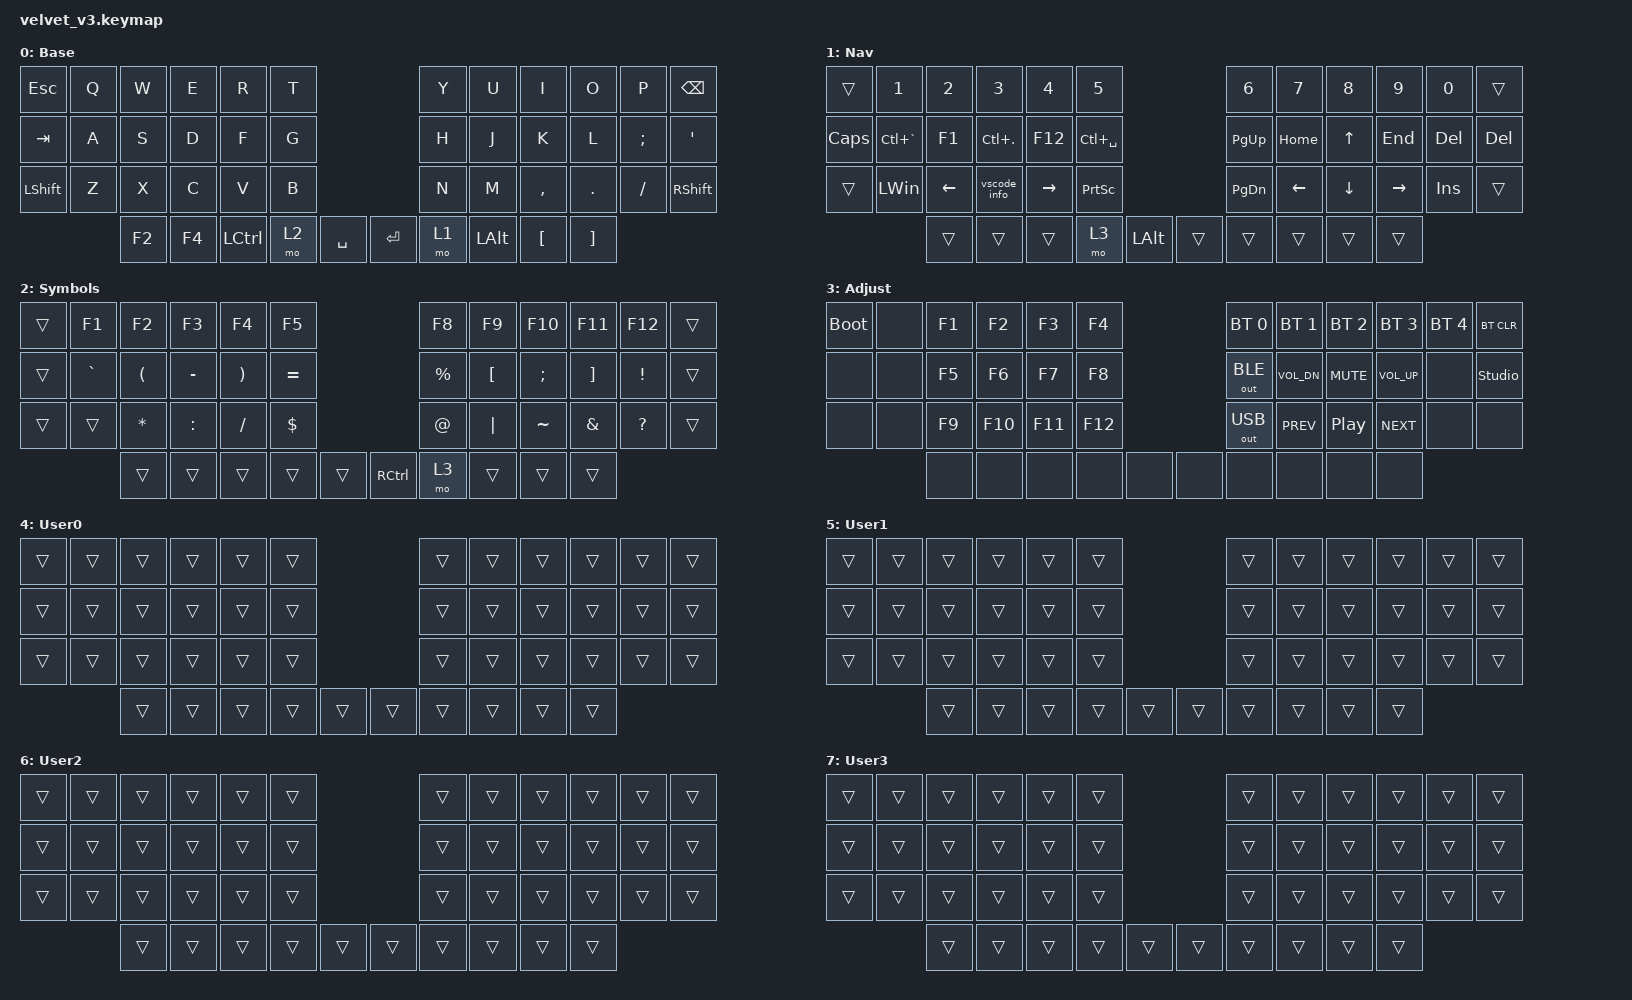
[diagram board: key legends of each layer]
#include "keys_ru.h"
#include <behaviors.dtsi>
#include <dt-bindings/zmk/bt.h>
#include <dt-bindings/zmk/keys.h>
#include <dt-bindings/zmk/outputs.h>

/ {
    macros {
        vscode_info: vscode_info {
            compatible = "zmk,behavior-macro";
            #binding-cells = <0>;
            bindings = <&kp LC(K) &kp LC(I)>;
            label = "vscode_info";
        };
    };

    keymap {
        compatible = "zmk,keymap";

        base {
            bindings = <
&kp ESC         &kp Q  &kp W   &kp E   &kp R      &kp T                          &kp Y  &kp U         &kp I             &kp O              &kp P     &kp BSPC
&kp TAB         &kp A  &kp S   &kp D   &kp F      &kp G                          &kp H  &kp J         &kp K             &kp L              &kp SEMI  &kp SQT
&kp LEFT_SHIFT  &kp Z  &kp X   &kp C   &kp V      &kp B                          &kp N  &kp M         &kp COMMA         &kp DOT            &kp FSLH  &kp RSHFT
                       &kp F2  &kp F4  &kp LCTRL  &mo 2  &kp SPACE    &kp ENTER  &mo 1  &kp LEFT_ALT  &kp LEFT_BRACKET  &kp RIGHT_BRACKET
            >;

            display-name = "Base";
        };

        nav {
            bindings = <
&trans        &kp N1         &kp N2    &kp N3        &kp N4           &kp N5                                   &kp N6         &kp N7    &kp N8          &kp N9     &kp N0      &trans
&kp CAPSLOCK  &kp LC(GRAVE)  &kp F1    &kp LC(DOT)   &kp F12          &kp LC(SPACE)                            &kp PAGE_UP    &kp HOME  &kp UP          &kp END    &kp DELETE  &kp DEL
&trans        &kp LEFT_WIN   &kp LEFT  &vscode_info  &kp RIGHT_ARROW  &kp PRINTSCREEN                          &kp PAGE_DOWN  &kp LEFT  &kp DOWN_ARROW  &kp RIGHT  &kp INSERT  &trans
                             &trans    &trans        &trans           &mo 3            &kp LEFT_ALT    &trans  &trans         &trans    &trans          &trans
            >;

            display-name = "Nav";
        };

        sym {
            bindings = <
&trans  &kp F1     &kp F2    &kp F3     &kp F4    &kp F5                                  &kp F8     &kp F9            &kp F10    &kp F11            &kp F12       &trans
&trans  &kp GRAVE  &kp LPAR  &kp MINUS  &kp RPAR  &kp EQUAL                               &kp PRCNT  &kp LEFT_BRACKET  &kp SEMI   &kp RIGHT_BRACKET  &kp EXCL      &trans
&trans  &trans     &kp STAR  &kp COLON  &kp FSLH  &kp DLLR                                &kp AT     &kp PIPE          &kp TILDE  &kp AMPS           &kp QUESTION  &trans
                   &trans    &trans     &trans    &trans     &trans    &kp RIGHT_CONTROL  &mo 3      &trans            &trans     &trans
            >;

            display-name = "Symbols";
        };

        adj {
            bindings = <
&bootloader  &none  &kp F1  &kp F2   &kp F3   &kp F4                   &bt BT_SEL 0  &bt BT_SEL 1  &bt BT_SEL 2      &bt BT_SEL 3  &bt BT_SEL 4  &bt BT_CLR
&none        &none  &kp F5  &kp F6   &kp F7   &kp F8                   &out OUT_BLE  &kp C_VOL_DN  &kp C_MUTE        &kp C_VOL_UP  &none         &studio_unlock
&none        &none  &kp F9  &kp F10  &kp F11  &kp F12                  &out OUT_USB  &kp C_PREV    &kp C_PLAY_PAUSE  &kp C_NEXT    &none         &none
                    &none   &none    &none    &none    &none    &none  &none         &none         &none             &none
            >;

            display-name = "Adjust";
        };

        User0 {
            bindings = <
&trans  &trans  &trans  &trans  &trans  &trans                    &trans  &trans  &trans  &trans  &trans  &trans
&trans  &trans  &trans  &trans  &trans  &trans                    &trans  &trans  &trans  &trans  &trans  &trans
&trans  &trans  &trans  &trans  &trans  &trans                    &trans  &trans  &trans  &trans  &trans  &trans
                &trans  &trans  &trans  &trans  &trans    &trans  &trans  &trans  &trans  &trans
            >;

            display-name = "User0";
        };

        User1 {
            bindings = <
&trans  &trans  &trans  &trans  &trans  &trans                    &trans  &trans  &trans  &trans  &trans  &trans
&trans  &trans  &trans  &trans  &trans  &trans                    &trans  &trans  &trans  &trans  &trans  &trans
&trans  &trans  &trans  &trans  &trans  &trans                    &trans  &trans  &trans  &trans  &trans  &trans
                &trans  &trans  &trans  &trans  &trans    &trans  &trans  &trans  &trans  &trans
            >;

            display-name = "User1";
        };

        User2 {
            bindings = <
&trans  &trans  &trans  &trans  &trans  &trans                    &trans  &trans  &trans  &trans  &trans  &trans
&trans  &trans  &trans  &trans  &trans  &trans                    &trans  &trans  &trans  &trans  &trans  &trans
&trans  &trans  &trans  &trans  &trans  &trans                    &trans  &trans  &trans  &trans  &trans  &trans
                &trans  &trans  &trans  &trans  &trans    &trans  &trans  &trans  &trans  &trans
            >;

            display-name = "User2";
        };

        User3 {
            bindings = <
&trans  &trans  &trans  &trans  &trans  &trans                    &trans  &trans  &trans  &trans  &trans  &trans
&trans  &trans  &trans  &trans  &trans  &trans                    &trans  &trans  &trans  &trans  &trans  &trans
&trans  &trans  &trans  &trans  &trans  &trans                    &trans  &trans  &trans  &trans  &trans  &trans
                &trans  &trans  &trans  &trans  &trans    &trans  &trans  &trans  &trans  &trans
            >;

            display-name = "User3";
        };
    };
};
